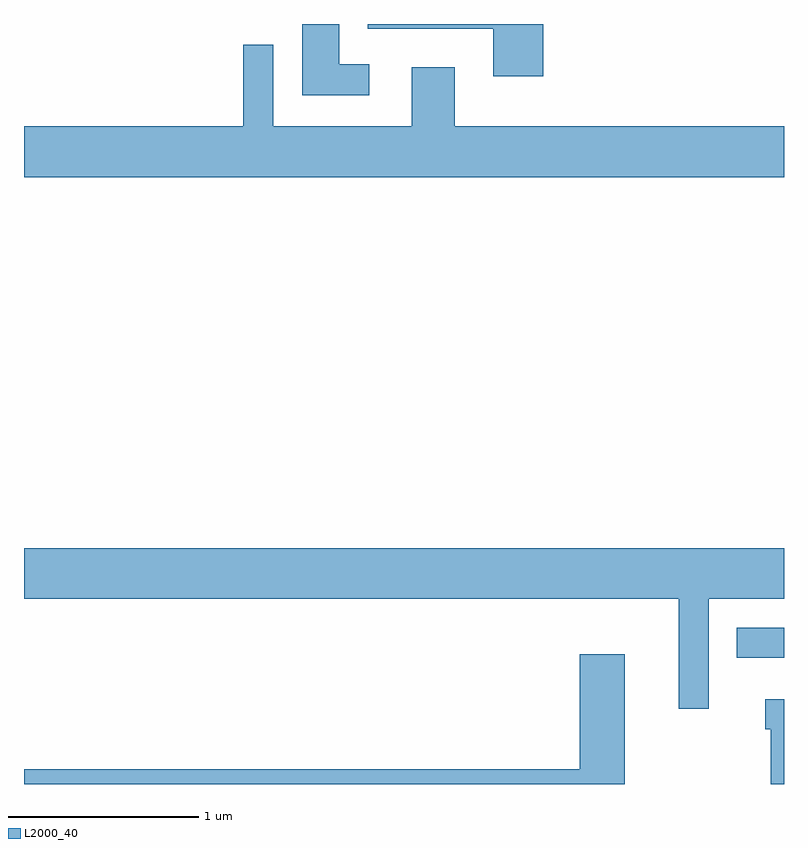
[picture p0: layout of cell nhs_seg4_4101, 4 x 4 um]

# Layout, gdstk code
import gdstk
lib = gdstk.Library(unit=1e-6, precision=1e-09)
def R(c, l, rs):  # rectangles x0, y0, x1, y1
    for r in rs: c.add(gdstk.rectangle(r[:2], r[2:], *l))
def P(c, l, *ps):  # polygons
    for p in ps: c.add(gdstk.Polygon(p, *l))
L2000_40 = (2000, 40)

nhs_seg4_4101 = lib.new_cell('nhs_seg4_4101')
R(nhs_seg4_4101, L2000_40, [(309.363,1296.646,309.611,1296.804)])
P(nhs_seg4_4101, L2000_40, [(308.344,1299.982),(307.421,1299.982),(307.421,1299.956),(308.081,1299.956),(308.081,1299.706),(308.344,1299.706)],
  [(307.428,1299.769),(307.269,1299.769),(307.269,1299.982),(307.076,1299.982),(307.076,1299.606),(307.428,1299.606)],
  [(309.611,1299.444),(307.879,1299.444),(307.879,1299.754),(307.651,1299.754),(307.651,1299.444),(306.924,1299.444),(306.924,1299.873),(306.766,1299.873),(306.766,1299.444),(305.611,1299.444),(305.611,1299.176),(309.611,1299.176)],
  [(309.214,1296.956),(309.611,1296.956),(309.611,1297.224),(305.611,1297.224),(305.611,1296.956),(309.056,1296.956),(309.056,1296.378),(309.214,1296.378)],
  [(308.774,1296.664),(308.536,1296.664),(308.536,1296.059),(305.611,1296.059),(305.611,1295.982),(308.774,1295.982)],
  [(309.611,1296.429),(309.511,1296.429),(309.511,1296.271),(309.541,1296.271),(309.541,1295.982),(309.611,1295.982)])

lib.write_gds('nhs_seg4_4101.gds')
